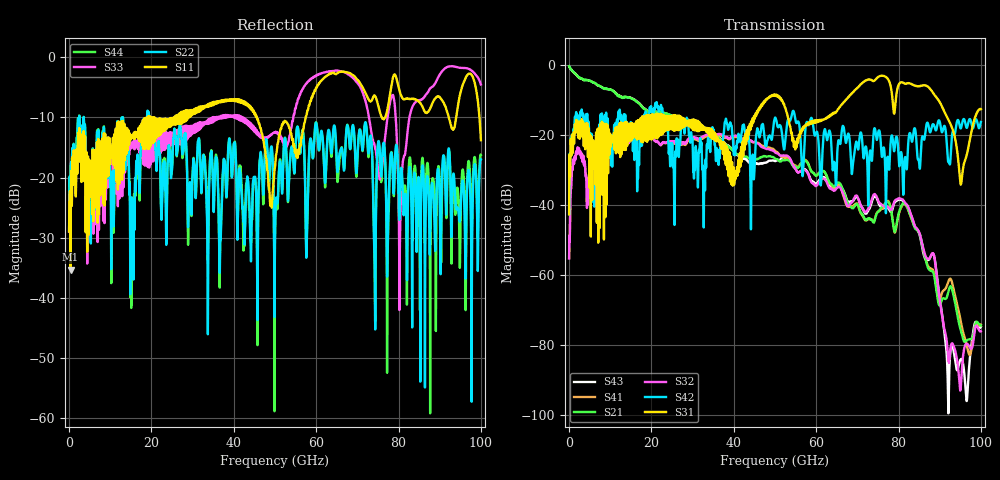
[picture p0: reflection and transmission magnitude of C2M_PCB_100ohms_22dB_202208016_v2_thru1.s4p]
! Info: Touchstone file created by Circ.  Input file=Intel_C2M_200G_8p5in_202208016_staggered.circ
# Hz S RI R 50
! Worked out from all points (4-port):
!   10000 points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, 10 MHz to 100 GHz, reference 50 ohm
!   strongest paths, dB at 10 MHz, 25.01 GHz, 50.01 GHz, 75.01 GHz, 100 GHz:
!     S31: -42.6, -14.9, -8.4, -3.4, -12.6
!     S42: -42.6, -22.6, -15.0, -19.7, -16.3
!     S32: -55.3, -21.7, -25.0, -38.5, -76.1
!     S21: -0.3, -14.5, -26.7, -41.9, -74.4
!     S41: -55.3, -22.0, -24.5, -41.9, -74.2
!     S43: -0.3, -14.5, -27.4, -38.9, -74.8
!   lowest |S11| = -35.3 dB at 360 MHz (marker M1), VSWR 1.03, Z = 48.4 + j0.674 ohm
!   |S11| at or under -10 dB: start of sweep to 18.93 GHz; 20.68 GHz to 25.45 GHz (4.776 GHz wide, 20.7 % of centre); 45.58 GHz to 57.44 GHz (11.85 GHz wide, 23 % of centre)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
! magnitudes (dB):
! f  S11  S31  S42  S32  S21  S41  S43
! 10 MHz  -28.9  -42.6  -42.6  -55.3  -0.3  -55.3  -0.3
! 360 MHz  -35.3  -22.1  -21.5  -36.4  -1.0  -36.5  -1.0
! 40.85 GHz  -7.3  -30.2  -22.0  -20.2  -25.5  -20.6  -25.8
! 49.07 GHz  -24.4  -8.9  -20.9  -24.3  -26.2  -23.8  -27.3
! 80.88 GHz  -6.7  -4.9  -27.4  -38.4  -39.9  -40.1  -38.7
! 95.17 GHz  -5.5  -34.0  -18.0  -91.2  -76.0  -73.6  -84.0
! 100 GHz  -13.8  -12.6  -16.3  -76.1  -74.4  -74.2  -74.8
